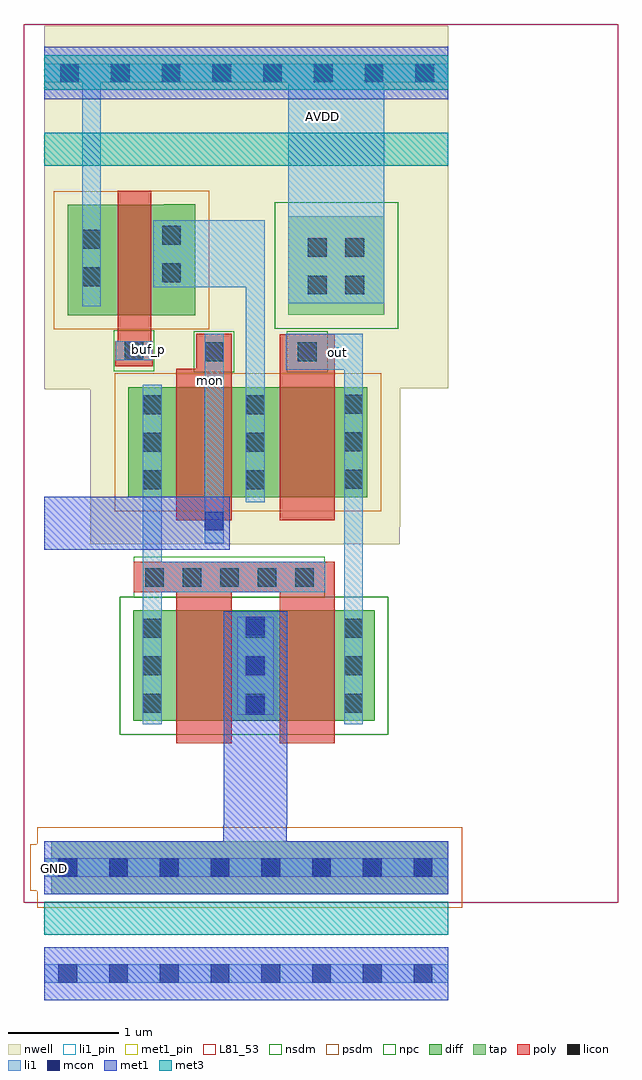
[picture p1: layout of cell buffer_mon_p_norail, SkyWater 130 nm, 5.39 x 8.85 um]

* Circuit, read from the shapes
.subckt buffer_mon_p_norail AVDD GND buf_p mon out
XM1 GND n1 n1 GND sky130_fd_pr__nfet_01v8 w=1 l=0.5
XM2 out n1 GND GND sky130_fd_pr__nfet_01v8 w=1 l=0.5
XM3 n2 buf_p AVDD AVDD sky130_fd_pr__pfet_01v8 w=1 l=0.3
XM4 n2 mon n1 AVDD sky130_fd_pr__pfet_01v8 w=1 l=0.5
XM5 out out n2 AVDD sky130_fd_pr__pfet_01v8 w=1 l=0.5
.ends

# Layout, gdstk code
import gdstk
lib = gdstk.Library(unit=1e-6, precision=1e-09)
def R(c, l, rs):  # rectangles x0, y0, x1, y1
    for r in rs: c.add(gdstk.rectangle(r[:2], r[2:], *l))
def A(c, l, x, y, w, h, nx, ny, dx, dy):  # array of equal rectangles
    R(c, l, [(x+i*dx, y+j*dy, x+i*dx+w, y+j*dy+h) for i in range(nx) for j in range(ny)])
nwell = (64, 20)
diff = (65, 20)
tap = (65, 44)
poly = (66, 20)
licon = (66, 44)
li1_pin = (67, 16)
li1 = (67, 20)
mcon = (67, 44)
met1_pin = (68, 16)
met1 = (68, 20)
met3 = (70, 20)
L81_53 = (81, 53)
nsdm = (93, 44)
psdm = (94, 20)
npc = (95, 20)

buffer_mon_p_norail = lib.new_cell('buffer_mon_p_norail')
R(buffer_mon_p_norail, nwell, [(1.435,4.13,4.24,4.29), (1.435,4.29,4.245,5.535), (1.02,5.535,4.245,5.545), (1.015,5.545,4.68,8.83)])
R(buffer_mon_p_norail, diff, [(1.825,2.53,4.01,3.53), (1.78,4.555,3.945,5.555), (1.23,6.205,2.385,7.205), (2.1,7.205,2.385,7.21)])
R(buffer_mon_p_norail, tap, [(1.08,0.96,4.68,1.115), (1.015,1.115,4.68,1.285), (1.08,1.285,4.68,1.44), (3.23,6.21,4.1,7.105)])
R(buffer_mon_p_norail, poly, [(2.215,2.325,2.715,3.695), (3.15,2.325,3.65,3.695), (1.83,3.695,3.65,3.97), (2.215,4.35,2.715,5.72), (3.15,4.35,3.65,6.035), (2.395,5.72,2.715,6.04), (1.66,5.745,2,5.97), (1.685,5.97,1.985,7.335)])
A(buffer_mon_p_norail, licon, 1.145, 1.115, 0.17, 0.17, 8, 1, 0.46, 0)
A(buffer_mon_p_norail, licon, 1.91, 2.605, 0.17, 0.17, 1, 3, 0, 0.34)
A(buffer_mon_p_norail, licon, 2.845, 2.605, 0.17, 0.17, 1, 3, 0, 0.34)
A(buffer_mon_p_norail, licon, 3.735, 2.605, 0.17, 0.17, 1, 3, 0, 0.34)
A(buffer_mon_p_norail, licon, 1.93, 3.745, 0.17, 0.17, 5, 1, 0.34, 0)
A(buffer_mon_p_norail, licon, 1.91, 4.63, 0.17, 0.17, 1, 3, 0, 0.34)
A(buffer_mon_p_norail, licon, 2.845, 4.63, 0.17, 0.17, 1, 3, 0, 0.34)
A(buffer_mon_p_norail, licon, 3.735, 4.635, 0.17, 0.17, 1, 3, 0, 0.34)
R(buffer_mon_p_norail, licon, [(2.47,5.79,2.64,5.96), (3.315,5.79,3.485,5.96), (1.745,5.8,1.915,5.97), (3.405,6.395,3.575,6.565), (3.745,6.395,3.915,6.565), (1.36,6.47,1.53,6.64), (2.085,6.505,2.255,6.675), (3.405,6.735,3.575,6.905), (3.745,6.735,3.915,6.905), (1.36,6.81,1.53,6.98), (2.085,6.845,2.255,7.015)])
R(buffer_mon_p_norail, li1_pin, [(2.485,5.605,2.56,5.63), (3.665,5.825,3.685,5.915), (1.95,5.85,1.97,5.94), (3.46,7.98,3.61,8.03)])
R(buffer_mon_p_norail, li1, [(1.015,0.155,4.68,0.325), (1.015,1.115,4.68,1.285), (1.91,2.5,2.08,3.695), (3.735,2.5,3.905,5.71), (2.765,2.585,3.095,3.475), (1.91,3.695,3.565,3.97), (1.91,3.97,2.08,5.575), (2.47,4.14,2.645,6.04), (2.845,4.51,3.015,6.46), (3.205,5.71,3.905,6.04), (1.665,5.8,1.995,5.97), (1.36,6.285,1.53,8.315), (3.23,6.315,4.1,8.315), (2.005,6.46,3.015,7.065), (1.015,8.315,4.68,8.485)])
A(buffer_mon_p_norail, mcon, 1.145, 0.155, 0.17, 0.17, 8, 2, 0.46, 0.96)
A(buffer_mon_p_norail, mcon, 2.845, 2.585, 0.17, 0.17, 1, 3, 0, 0.36)
A(buffer_mon_p_norail, mcon, 1.16, 8.315, 0.17, 0.17, 8, 1, 0.46, 0)
R(buffer_mon_p_norail, mcon, [(2.47,4.255,2.64,4.425)])
R(buffer_mon_p_norail, met1_pin, [(1.09,1.175,1.135,1.215)])
R(buffer_mon_p_norail, met1, [(1.015,0,4.68,0.48), (1.015,0.96,4.68,1.44), (2.64,1.44,3.215,1.585), (2.645,1.585,3.22,3.525), (1.015,4.08,2.7,4.56), (1.015,8.165,4.68,8.64)])
R(buffer_mon_p_norail, met3, [(1.015,0.59,4.68,0.89), (1.015,7.56,4.68,7.86), (1.015,8.25,4.68,8.56)])
R(buffer_mon_p_norail, L81_53, [(0.83,0.88,6.22,8.845)])
R(buffer_mon_p_norail, nsdm, [(1.7,2.405,4.135,3.655), (3.105,6.085,4.225,7.23)])
R(buffer_mon_p_norail, psdm, [(0.955,0.835,4.805,0.99), (0.89,0.99,4.805,1.41), (0.955,1.41,4.805,1.565), (1.655,4.43,4.07,5.68), (1.105,6.08,2.51,7.33), (1.975,7.33,2.51,7.335)])
R(buffer_mon_p_norail, npc, [(1.83,3.645,3.56,4.015), (2.37,5.69,2.74,6.06), (3.215,5.69,3.585,6.06), (1.645,5.7,2.015,6.07)])
buffer_mon_p_norail.add(gdstk.Label('GND', (1.112,1.195), layer=68, texttype=5))
buffer_mon_p_norail.add(gdstk.Label('buf_p', (1.96,5.895), layer=67, texttype=5))
buffer_mon_p_norail.add(gdstk.Label('out', (3.675,5.87), layer=67, texttype=5))
buffer_mon_p_norail.add(gdstk.Label('mon', (2.522,5.617), layer=67, texttype=5))
buffer_mon_p_norail.add(gdstk.Label('AVDD', (3.535,8.005), layer=67, texttype=5))

lib.write_gds('buffer_mon_p_norail.gds')
